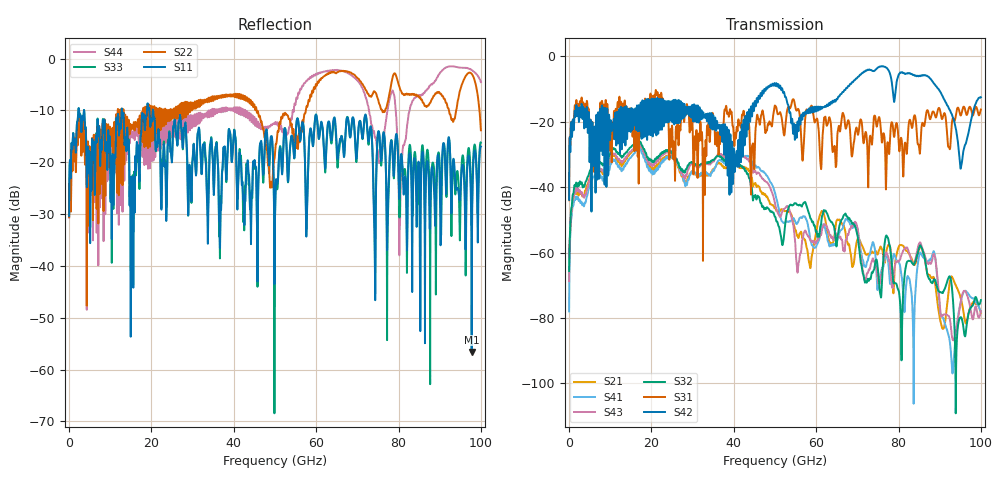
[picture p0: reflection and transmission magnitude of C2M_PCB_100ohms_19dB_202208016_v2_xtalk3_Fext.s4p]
! Info: Touchstone file created by Circ.  Input file=Intel_C2M_200G_6p5in_202208016_staggered.circ
# Hz S RI R 50
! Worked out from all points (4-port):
!   10000 points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, 10 MHz to 100 GHz, reference 50 ohm
!   strongest paths, dB at 10 MHz, 25.01 GHz, 50.01 GHz, 75.01 GHz, 100 GHz:
!     S42: -43.9, -16.1, -8.7, -3.4, -12.5
!     S31: -44.0, -21.2, -15.1, -19.7, -16.2
!     S32: -65.6, -29.7, -49.0, -65.4, -74.5
!     S43: -68.7, -30.0, -44.7, -68.9, -77.9
!     S41: -78.0, -30.8, -41.7, -70.3, -78.0
!     S21: -61.8, -30.9, -46.3, -60.3, -78.4
!   lowest |S11| = -56.6 dB at 97.76 GHz (marker M1), VSWR 1.00, Z = 50.1 - j0.0534 ohm
!   |S11| at or under -10 dB: 3.659 GHz to 12.75 GHz (9.095 GHz wide, 111 % of centre); 12.88 GHz to 18.92 GHz (6.041 GHz wide, 38 % of centre); 20.42 GHz to end of sweep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
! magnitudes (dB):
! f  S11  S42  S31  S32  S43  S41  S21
! 10 MHz  -30.3  -43.9  -44.0  -65.6  -68.7  -78.0  -61.8
! 1.35 GHz  -15.6  -16.7  -15.2  -39.4  -41.5  -43.8  -42.0
! 16.95 GHz  -19.8  -14.9  -30.2  -25.7  -26.8  -28.1  -27.1
! 66.13 GHz  -14.9  -11.5  -19.8  -50.0  -56.1  -53.0  -50.8
! 80.39 GHz  -21.2  -5.0  -26.6  -75.4  -62.1  -64.1  -57.7
! 97.76 GHz  -56.6  -18.8  -17.0  -76.5  -79.1  -73.8  -75.7
! 100 GHz  -16.9  -12.5  -16.2  -74.5  -77.9  -78.0  -78.4
